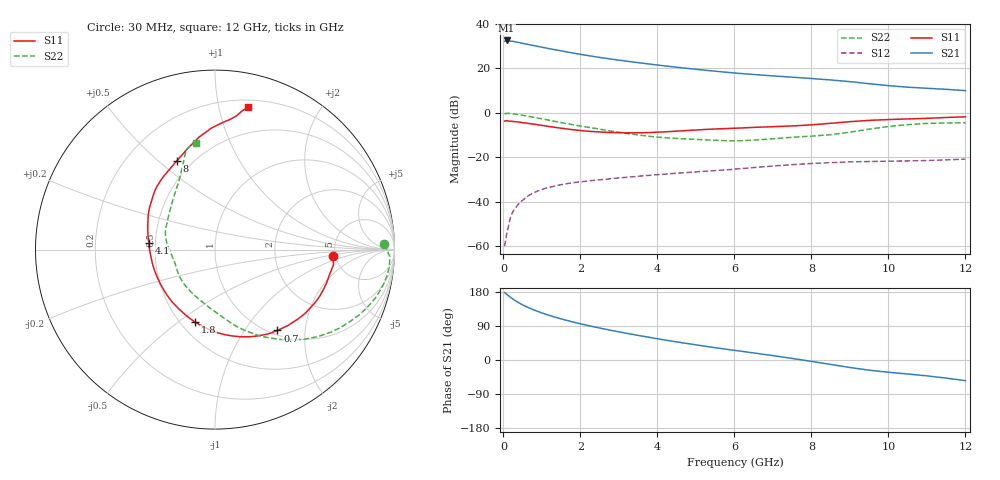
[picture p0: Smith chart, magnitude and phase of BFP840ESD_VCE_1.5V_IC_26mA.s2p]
! Infineon Technologies  Discrete & RF Semiconductors
! BFP840ESD
! VCE =  1.5 V,  IC =  26 mA
! Common Emitter S-Parameters:  May 2012
# GHz  S  MA  R  50
!  f  S11  S21  S12  S22
! GHz  MAG  ANG  MAG  ANG  MAG  ANG  MAG  ANG
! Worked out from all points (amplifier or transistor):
!   93 points, 30 MHz to 12 GHz, reference 50 ohm
!   highest |S21| = 32.6 dB at 80 MHz (marker M1)
!   |S21| within 3 dB of that: start of sweep to 988 MHz
!   unconditionally stable (mu >= 1): 4.435 GHz to 8.142 GHz
!   at 1.1 GHz: K = 0.45, MSG = 31.6 dB, |S12| = -33.9 dB
!   at 4.2 GHz: K = 0.99, MSG = 24.4 dB, |S12| = -27.6 dB
!   at 12 GHz: K = 0.74, MSG = 15.4 dB, |S12| = -20.8 dB
!   S11 on the Smith chart (normalised r, x): 30 MHz: 4.74, -0.55; 700 MHz: 1.08, -1.43; 1.8 GHz: 0.59, -0.58; 4.1 GHz: 0.46, +0.04; 8 GHz: 0.41, +0.58; 12 GHz: 0.26, +1.23
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0.03  0.6557 -2.9  40.93 178.0  0.001 96.0  0.9445 1.8
0.08  0.666 -7.2  42.66 173.7  0.0018 100.2  0.9754 -2.3
0.13  0.654 -12.0  41.45 169.7  0.0028 87.6  0.9759 -5.9
0.23  0.6439 -20.4  40.75 162.0  0.0056 80.9  0.958 -11.8
0.33  0.6307 -28.1  39.38 155.1  0.0076 75.1  0.9331 -16.8
0.5  0.6026 -40.0  36.7 145.4  0.0108 70.8  0.881 -24.5
0.7  0.5693 -52.3  33.75 136.0  0.0146 65.5  0.8209 -32.1
0.9  0.5384 -63.1  31.31 128.0  0.0176 61.3  0.7615 -38.9
1.2  0.491 -78.6  27.76 117.5  0.0213 55.4  0.6789 -47.8
1.5  0.4515 -92.3  24.84 108.5  0.0242 51.0  0.6049 -55.4
1.8  0.4188 -105.5  22.25 100.4  0.0267 47.6  0.5434 -62.3
2.1  0.3926 -117.6  20.13 93.2  0.0287 45.2  0.4897 -68.5
2.4  0.3769 -129.3  18.26 86.4  0.0305 43.3  0.4449 -74.3
2.9  0.36 -147.3  15.81 76.2  0.0338 41.2  0.3773 -83.8
3.5  0.3571 -167.3  13.5 64.9  0.0375 38.6  0.3187 -97.3
4.1  0.3705 174.4  11.66 54.4  0.0413 36.6  0.2804 -113.2
5.2  0.4216 151.5  9.202 36.9  0.0482 32.4  0.2484 -141.6
6.1  0.4545 139.6  7.783 24.2  0.0551 29.7  0.2364 -163.4
8  0.5384 113.2  5.941 -3.7  0.0725 16.6  0.2998 155.8
8.5  0.5823 105.3  5.506 -11.7  0.0759 12.3  0.3228 142.7
10.5  0.7302 83.4  3.787 -36.9  0.0828 -3.2  0.5425 108.3
12  0.8149 76.9  3.167 -54.5  0.091 -10.8  0.6011 100.1
